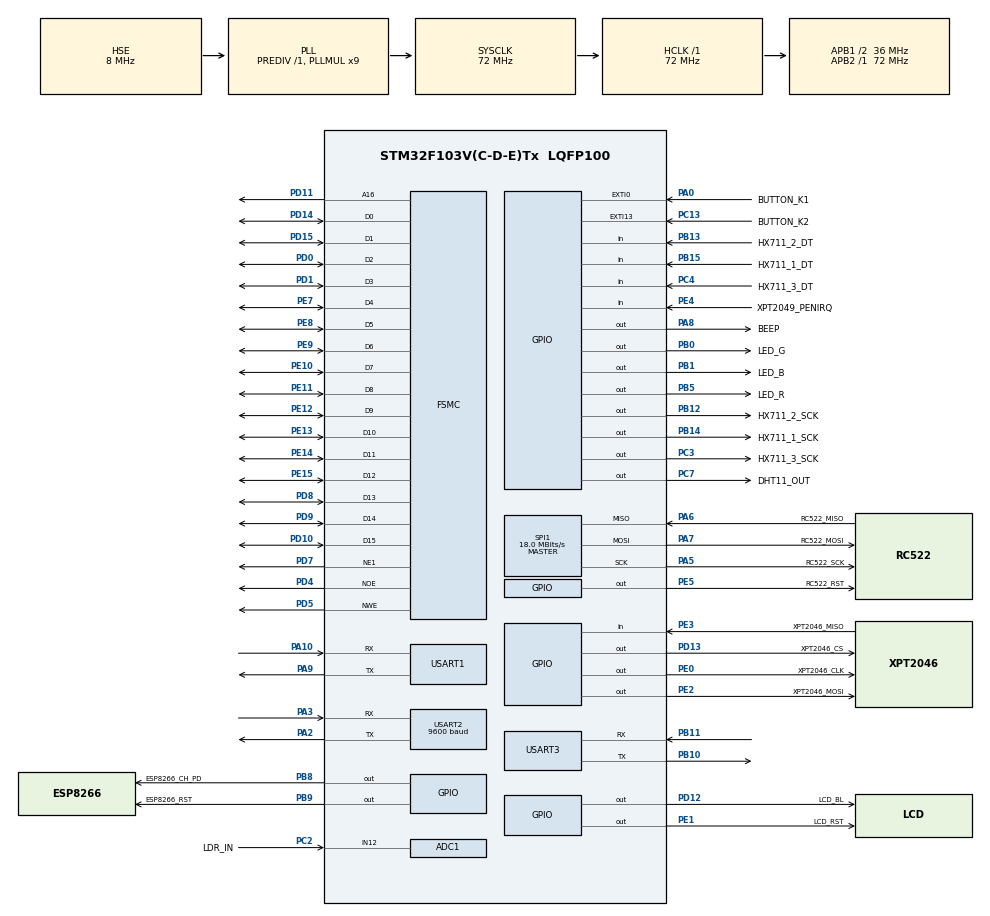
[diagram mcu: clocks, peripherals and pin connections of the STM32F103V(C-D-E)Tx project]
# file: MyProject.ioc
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ADC1.Channel-0\#ChannelRegularConversion=ADC_CHANNEL_12
ADC1.ContinuousConvMode=ENABLE
ADC1.NbrOfConversionFlag=1
ADC1.Rank-0\#ChannelRegularConversion=1
ADC1.SamplingTime-0\#ChannelRegularConversion=ADC_SAMPLETIME_1CYCLE_5
ADC1.master=1
Dma.Request0=USART2_RX
Dma.USART2_RX.0.Direction=DMA_PERIPH_TO_MEMORY
Dma.USART2_RX.0.Instance=DMA1_Channel6
Dma.USART2_RX.0.MemDataAlignment=DMA_MDATAALIGN_BYTE
Dma.USART2_RX.0.MemInc=DMA_MINC_ENABLE
Dma.USART2_RX.0.Mode=DMA_CIRCULAR
Dma.USART2_RX.0.PeriphDataAlignment=DMA_PDATAALIGN_BYTE
Dma.USART2_RX.0.PeriphInc=DMA_PINC_DISABLE
Dma.USART2_RX.0.Priority=DMA_PRIORITY_MEDIUM
FREERTOS.HEAP_NUMBER=4
FREERTOS.INCLUDE_uxTaskGetStackHighWaterMark=1
FREERTOS.Mutexes01=myMutex01,Dynamic,NULL
FREERTOS.Tasks01=defaultTask,0,150,MainThread,Default,NULL,Dynamic,NULL,NULL;myTask02,-1,150,Thread2,Default,NULL,Dynamic,NULL,NULL;myTask03,-2,150,Thread3,Default,NULL,Dynamic,NULL,NULL;myTask04,-2,250,Thread4,Default,NULL,Dynamic,NULL,NULL;myTask05,-2,1000,Thread5,Default,NULL,Dynamic,NULL,NULL
FREERTOS.configMINIMAL_STACK_SIZE=128
FREERTOS.configTOTAL_HEAP_SIZE=51200
Mcu.Family=STM32F1
Mcu.Name=STM32F103V(C-D-E)Tx
Mcu.Package=LQFP100
NVIC.DMA1_Channel6_IRQn=true\:5\:0\:false\:false\:true\:true\:false\:true
NVIC.EXTI0_IRQn=true\:0\:0\:false\:false\:true\:false\:true\:true
NVIC.EXTI15_10_IRQn=true\:0\:0\:false\:false\:true\:false\:true\:true
NVIC.PriorityGroup=NVIC_PRIORITYGROUP_4
NVIC.TIM3_IRQn=true\:0\:0\:false\:false\:true\:false\:false\:true
NVIC.TimeBase=TIM3_IRQn
NVIC.TimeBaseIP=TIM3
NVIC.USART2_IRQn=true\:5\:0\:false\:false\:true\:true\:true\:true
NVIC.USART3_IRQn=true\:5\:0\:false\:false\:true\:true\:true\:true
OSC_IN.Mode=HSE-External-Oscillator
OSC_IN.Signal=RCC_OSC_IN
OSC_OUT.Mode=HSE-External-Oscillator
OSC_OUT.Signal=RCC_OSC_OUT
PA0-WKUP.GPIO_Label=BUTTON_K1
PA0-WKUP.Signal=GPXTI0
PA10.Mode=Asynchronous
PA10.Signal=USART1_RX
PA13.Mode=Serial_Wire
PA13.Signal=SYS_JTMS-SWDIO
PA14.Mode=Serial_Wire
PA14.Signal=SYS_JTCK-SWCLK
PA2.Mode=Asynchronous
PA2.Signal=USART2_TX
PA3.Mode=Asynchronous
PA3.Signal=USART2_RX
PA4.GPIO_Label=RC522_SDA
PA4.Signal=SPI1_NSS
PA5.GPIO_Label=RC522_SCK
PA5.Mode=Full_Duplex_Master
PA5.Signal=SPI1_SCK
PA6.GPIO_Label=RC522_MISO
PA6.Mode=Full_Duplex_Master
PA6.Signal=SPI1_MISO
PA7.GPIO_Label=RC522_MOSI
PA7.Mode=Full_Duplex_Master
PA7.Signal=SPI1_MOSI
PA8.GPIO_Label=BEEP
PA8.PinState=GPIO_PIN_RESET
PA8.Signal=GPIO_Output
PA9.Mode=Asynchronous
PA9.Signal=USART1_TX
PB0.GPIO_Label=LED_G
PB0.PinState=GPIO_PIN_SET
PB0.Signal=GPIO_Output
PB1.GPIO_Label=LED_B
PB1.PinState=GPIO_PIN_SET
PB1.Signal=GPIO_Output
PB10.Mode=Asynchronous
PB10.Signal=USART3_TX
PB11.Mode=Asynchronous
PB11.Signal=USART3_RX
PB12.GPIO_Label=HX711_2_SCK
PB12.Signal=GPIO_Output
PB13.GPIO_Label=HX711_2_DT
PB13.GPIO_PuPd=GPIO_PULLUP
PB13.Signal=GPIO_Input
PB14.GPIO_Label=HX711_1_SCK
PB14.Signal=GPIO_Output
PB15.GPIO_Label=HX711_1_DT
PB15.GPIO_PuPd=GPIO_PULLUP
PB15.Signal=GPIO_Input
PB5.GPIO_Label=LED_R
PB5.PinState=GPIO_PIN_SET
PB5.Signal=GPIO_Output
PB8.GPIO_Label=ESP8266_CH_PD
PB8.GPIO_Speed=GPIO_SPEED_FREQ_HIGH
PB8.Signal=GPIO_Output
PB9.GPIO_Label=ESP8266_RST
PB9.GPIO_Speed=GPIO_SPEED_FREQ_HIGH
PB9.Signal=GPIO_Output
PC13-TAMPER-RTC.GPIO_Label=BUTTON_K2
PC13-TAMPER-RTC.Signal=GPXTI13
PC14-OSC32_IN.Mode=LSE-External-Oscillator
PC14-OSC32_IN.Signal=RCC_OSC32_IN
PC15-OSC32_OUT.Mode=LSE-External-Oscillator
PC15-OSC32_OUT.Signal=RCC_OSC32_OUT
PC2.GPIO_Label=LDR_IN
PC2.Signal=ADCx_IN12
PC3.GPIO_Label=HX711_3_SCK
PC3.Signal=GPIO_Output
PC4.GPIO_Label=HX711_3_DT
PC4.GPIO_PuPd=GPIO_PULLUP
PC4.Signal=GPIO_Input
PC7.GPIO_Label=DHT11_OUT
PC7.Signal=GPIO_Output
PD0.Mode=16b-d1
PD0.Signal=FSMC_D2
PD1.Mode=16b-d1
PD1.Signal=FSMC_D3
PD10.Mode=16b-d1
PD10.Signal=FSMC_D15
PD11.Mode=A16_1
PD11.Signal=FSMC_A16
PD12.GPIO_Label=LCD_BL
PD12.Signal=GPIO_Output
PD13.GPIO_Label=XPT2046_CS
PD13.Signal=GPIO_Output
PD14.Mode=16b-d1
PD14.Signal=FSMC_D0
PD15.Mode=16b-d1
PD15.Signal=FSMC_D1
PD4.Mode=Lcd1
PD4.Signal=FSMC_NOE
PD5.Mode=Lcd1
PD5.Signal=FSMC_NWE
PD7.Mode=NorPsramChipSelect1_1
PD7.Signal=FSMC_NE1
PD8.Mode=16b-d1
PD8.Signal=FSMC_D13
PD9.Mode=16b-d1
PD9.Signal=FSMC_D14
PE0.GPIO_Label=XPT2046_CLK
PE0.Signal=GPIO_Output
PE1.GPIO_Label=LCD_RST
PE1.Signal=GPIO_Output
PE10.Mode=16b-d1
PE10.Signal=FSMC_D7
PE11.Mode=16b-d1
PE11.Signal=FSMC_D8
PE12.Mode=16b-d1
PE12.Signal=FSMC_D9
PE13.Mode=16b-d1
PE13.Signal=FSMC_D10
PE14.Mode=16b-d1
PE14.Signal=FSMC_D11
PE15.Mode=16b-d1
PE15.Signal=FSMC_D12
PE2.GPIO_Label=XPT2046_MOSI
PE2.Signal=GPIO_Output
PE3.GPIO_Label=XPT2046_MISO
PE3.GPIO_PuPd=GPIO_PULLUP
PE3.Signal=GPIO_Input
PE4.GPIO_Label=XPT2049_PENIRQ
PE4.GPIO_PuPd=GPIO_PULLUP
PE4.Signal=GPIO_Input
PE5.GPIO_Label=RC522_RST
PE5.Signal=GPIO_Output
PE7.Mode=16b-d1
PE7.Signal=FSMC_D4
PE8.Mode=16b-d1
PE8.Signal=FSMC_D5
PE9.Mode=16b-d1
PE9.Signal=FSMC_D6
ProjectManager.HeapSize=0x200
ProjectManager.StackSize=0x400
ProjectManager.TargetToolchain=MDK-ARM V5
RCC.ADCPresc=RCC_ADCPCLK2_DIV6
RCC.AHBFreq_Value=72000000
RCC.APB1CLKDivider=RCC_HCLK_DIV2
RCC.APB1Freq_Value=36000000
RCC.APB1TimFreq_Value=72000000
RCC.APB2Freq_Value=72000000
RCC.APB2TimFreq_Value=72000000
RCC.HCLKFreq_Value=72000000
RCC.PLLMUL=RCC_PLL_MUL9
RCC.PLLSourceVirtual=RCC_PLLSOURCE_HSE
RCC.SYSCLKFreq_VALUE=72000000
RCC.SYSCLKSource=RCC_SYSCLKSOURCE_PLLCLK
RCC.USBFreq_Value=72000000
SH.ADCx_IN12.0=ADC1_IN12,IN12
SPI1.BaudRatePrescaler=SPI_BAUDRATEPRESCALER_4
SPI1.CalculateBaudRate=18.0 MBits/s
SPI1.Direction=SPI_DIRECTION_2LINES
SPI1.Mode=SPI_MODE_MASTER
SPI1.VirtualType=VM_MASTER
USART1.VirtualMode=VM_ASYNC
USART2.BaudRate=9600
USART2.VirtualMode=VM_ASYNC
USART3.VirtualMode=VM_ASYNC
VP_FREERTOS_VS_CMSIS_V1.Mode=CMSIS_V1
VP_SYS_VS_tim3.Mode=TIM3
board=custom

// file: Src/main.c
/* USER CODE BEGIN Header */
/**
  ******************************************************************************
  * @file           : main.c
  * @brief          : Main program body
  ******************************************************************************
  * @attention
  *
  * <h2><center>&copy; Copyright (c) 2019 STMicroelectronics.
  * All rights reserved.</center></h2>
  *
  * This software component is licensed by ST under BSD 3-Clause license,
  * the "License"; You may not use this file except in compliance with the
  * License. You may obtain a copy of the License at:
  *                        opensource.org/licenses/BSD-3-Clause
  *
  ******************************************************************************
  */
/* USER CODE END Header */

#include "main.h"
#include "cmsis_os.h"
#include "adc.h"
#include "dma.h"
#include "spi.h"
#include "usart.h"
#include "gpio.h"
#include "fsmc.h"

/* USER CODE BEGIN Includes */
#include "led.h"
#include "beep.h"
#include "lcd.h"
#include "ui.h"
#include "xpt2046.h"
#include "hx711.h"
#include "rc522.h"
/* USER CODE END Includes */

void SystemClock_Config(void);
void MX_FREERTOS_Init(void);

int main(void)
{

  /* MCU Configuration--------------------------------------------------------*/

  /* Reset of all peripherals, Initializes the Flash interface and the Systick. */
  HAL_Init();

  /* Configure the system clock */
  SystemClock_Config();

  /* Initialize all configured peripherals */
  MX_GPIO_Init();
  MX_DMA_Init();
  MX_FSMC_Init();
  MX_USART1_UART_Init();
  MX_ADC1_Init();
  MX_SPI1_Init();
  MX_USART3_UART_Init();
  MX_USART2_UART_Init();
  /* USER CODE BEGIN 2 */
	LCD_Init();

  /* USER CODE END 2 */

  /* Call init function for freertos objects (in freertos.c) */
  MX_FREERTOS_Init();

  /* Start scheduler */
  osKernelStart();

  /* We should never get here as control is now taken by the scheduler */

  /* Infinite loop */
  while (1)
  {

  }
}

void SystemClock_Config(void)
{
  RCC_OscInitTypeDef RCC_OscInitStruct = {0};
  RCC_ClkInitTypeDef RCC_ClkInitStruct = {0};
  RCC_PeriphCLKInitTypeDef PeriphClkInit = {0};

  /** Initializes the CPU, AHB and APB busses clocks
  */
  RCC_OscInitStruct.OscillatorType = RCC_OSCILLATORTYPE_HSE;
  RCC_OscInitStruct.HSEState = RCC_HSE_ON;
  RCC_OscInitStruct.HSEPredivValue = RCC_HSE_PREDIV_DIV1;
  RCC_OscInitStruct.HSIState = RCC_HSI_ON;
  RCC_OscInitStruct.PLL.PLLState = RCC_PLL_ON;
  RCC_OscInitStruct.PLL.PLLSource = RCC_PLLSOURCE_HSE;
  RCC_OscInitStruct.PLL.PLLMUL = RCC_PLL_MUL9;
  if (HAL_RCC_OscConfig(&RCC_OscInitStruct) != HAL_OK)
  {
    Error_Handler();
  }
  /** Initializes the CPU, AHB and APB busses clocks
  */
  RCC_ClkInitStruct.ClockType = RCC_CLOCKTYPE_HCLK|RCC_CLOCKTYPE_SYSCLK
                              |RCC_CLOCKTYPE_PCLK1|RCC_CLOCKTYPE_PCLK2;
  RCC_ClkInitStruct.SYSCLKSource = RCC_SYSCLKSOURCE_PLLCLK;
  RCC_ClkInitStruct.AHBCLKDivider = RCC_SYSCLK_DIV1;
  RCC_ClkInitStruct.APB1CLKDivider = RCC_HCLK_DIV2;
  RCC_ClkInitStruct.APB2CLKDivider = RCC_HCLK_DIV1;

  if (HAL_RCC_ClockConfig(&RCC_ClkInitStruct, FLASH_LATENCY_2) != HAL_OK)
  {
    Error_Handler();
  }
  PeriphClkInit.PeriphClockSelection = RCC_PERIPHCLK_ADC;
  PeriphClkInit.AdcClockSelection = RCC_ADCPCLK2_DIV6;
  if (HAL_RCCEx_PeriphCLKConfig(&PeriphClkInit) != HAL_OK)
  {
    Error_Handler();
  }
}

void HAL_TIM_PeriodElapsedCallback(TIM_HandleTypeDef *htim)
{
  if (htim->Instance == TIM3) {
    HAL_IncTick();
  }
}

void Error_Handler(void)
{
}

/************************ (C) COPYRIGHT STMicroelectronics *****END OF FILE****/

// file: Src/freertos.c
/* USER CODE BEGIN Header */
/**
  ******************************************************************************
  * File Name          : freertos.c
  * Description        : Code for freertos applications
  ******************************************************************************
  * @attention
  *
  * <h2><center>&copy; Copyright (c) 2019 STMicroelectronics.
  * All rights reserved.</center></h2>
  *
  * This software component is licensed by ST under Ultimate Liberty license
  * SLA0044, the "License"; You may not use this file except in compliance with
  * the License. You may obtain a copy of the License at:
  *                             www.st.com/SLA0044
  *
  ******************************************************************************
  */
/* USER CODE END Header */

#include "FreeRTOS.h"
#include "task.h"
#include "main.h"
#include "cmsis_os.h"

/* USER CODE BEGIN Includes */
#include "adc.h"
#include <string.h>
#include <stdlib.h>

#include "led.h"
#include "beep.h"
#include "lcd.h"
#include "ui.h"
#include "xpt2046.h"
#include "hx711.h"
#include "dht11.h"
#include "rc522.h"
#include "esp8266.h"
#include "neo6m.h"

/* USER CODE END Includes */

/* USER CODE BEGIN PD */
#define WEIGHT_MAX 				8700000
#define	LIGHT_THRES				60
#define RFID_CARD_ID 				"4A789303"

#define LOCALAP_SSID				""
#define LOCALAP_PW				""
#define LOCALHOST_IP				""
#define LOCALHOST_PORT				"3000"

#define HTTP_MAX_LEN				250																				// 104
#define HTTP_DATA_LEN				140																				// 133
#define HTTP_GET				"GET /data HTTP/1.1\n"
#define HTTP_POST				"POST /data HTTP/1.1\r\n" \
						"Host: %s:%s\r\n" \
						"Content-Type: application/json\r\n" \
						"Content-Length: %d\r\n\r\n" \
						"%s\n"

#define HTTP_DATA 				"{\"temp\":\"%d.%d\",\"humidity\":\"%d.%d\"," \
						"\"light\":\"%u\",\"seats\":\"%d\",\"seat1\":\"%d\"," \
						"\"seat2\":\"%d\",\"seat3\":\"%d\",\"lat\":\"%f\",\"lon\":\"%f\"}"

//#define	TASK1_DEBUG					1
//#define	TASK2_DEBUG					1
//#define	TASK3_DEBUG					1
//#define	TASK4_DEBUG					1
//#define	TASK5_DEBUG					1

/* USER CODE END PD */

/* USER CODE BEGIN Variables */
DHT11_Data dht11_data;
uint32_t ldr_data;
double deg_lat;
double deg_lon;

/* USER CODE END Variables */
osThreadId defaultTaskHandle;
osThreadId myTask02Handle;
osThreadId myTask03Handle;
osThreadId myTask04Handle;
osThreadId myTask05Handle;
osMutexId myMutex01Handle;

void MainThread(void const * argument);
void Thread2(void const * argument);
void Thread3(void const * argument);
void Thread4(void const * argument);
void Thread5(void const * argument);

void MX_FREERTOS_Init(void); /* (MISRA C 2004 rule 8.1) */

void MX_FREERTOS_Init(void) {

  /* Create the mutex(es) */
  /* definition and creation of myMutex01 */
  osMutexDef(myMutex01);
  myMutex01Handle = osMutexCreate(osMutex(myMutex01));

  /* Create the thread(s) */
  /* definition and creation of defaultTask */
  osThreadDef(defaultTask, MainThread, osPriorityNormal, 0, 150);
  defaultTaskHandle = osThreadCreate(osThread(defaultTask), NULL);

  /* definition and creation of myTask02 */
  osThreadDef(myTask02, Thread2, osPriorityBelowNormal, 0, 150);
  myTask02Handle = osThreadCreate(osThread(myTask02), NULL);

  /* definition and creation of myTask03 */
  osThreadDef(myTask03, Thread3, osPriorityLow, 0, 150);
  myTask03Handle = osThreadCreate(osThread(myTask03), NULL);

  /* definition and creation of myTask04 */
  osThreadDef(myTask04, Thread4, osPriorityLow, 0, 250);
  myTask04Handle = osThreadCreate(osThread(myTask04), NULL);

  /* definition and creation of myTask05 */
  osThreadDef(myTask05, Thread5, osPriorityLow, 0, 1000);
  myTask05Handle = osThreadCreate(osThread(myTask05), NULL);

}

void MainThread(void const * argument)
{

  /* USER CODE BEGIN MainThread */
	UI_Init();

	// RC522
	RC522_Init();
	RC522_PcdReset();
	RC522_M500PcdConfigISOType('A');

	// Waiting for login
	while (UI_LogState_Get() == LOGOUT)
	{
		// RC522
		uint8_t arrayID[4];
		uint8_t statusReturn = RC522_PcdRequest(PICC_REQALL, arrayID);

		if (statusReturn == MI_OK)
		{
			// Prevent Card Collusion
			if (RC522_PcdAnticoll(arrayID) == MI_OK)
			{
				char str[8] = "";
				sprintf(str, "%02X%02X%02X%02X", arrayID[0], arrayID[1], arrayID[2], arrayID[3]);

				UI_Login(strcmp(str, RFID_CARD_ID) == 0);
			}
		}
	}

  /* Infinite loop */
  for(;;)
  {
		// Touch Event
		strType_XPT2046_Coordinate coordinate;
		XPT2046_TouchEvenHandler(&coordinate);

		if (LCD_Coordinate_Valid(coordinate.x, coordinate.y))
		{
			xSemaphoreTake(myMutex01Handle, portMAX_DELAY);
			UI_Touch(coordinate.x, coordinate.y);
			xSemaphoreGive(myMutex01Handle);
		}

		#ifdef TASK1_DEBUG
			UBaseType_t uxHighWaterMark = uxTaskGetStackHighWaterMark( NULL );
			printf("MainThread: %lu\n", uxHighWaterMark);
		#endif

		osDelay(1);
  }

  /* USER CODE END MainThread */
}

void Thread2(void const * argument)
{
  /* USER CODE BEGIN Thread2 */
	while (UI_LogState_Get() == LOGOUT);

	// DHT11
	DHT11_Init();

  /* Infinite loop */
  for(;;)
  {
		if (DHT11_ReadData(&dht11_data))
		{
			xSemaphoreTake(myMutex01Handle, portMAX_DELAY);
			UI_Room_TempHumi_Set(&dht11_data);
			xSemaphoreGive(myMutex01Handle);
		}

		#ifdef TASK2_DEBUG
			UBaseType_t uxHighWaterMark = uxTaskGetStackHighWaterMark( NULL );
			printf("Thread2: %lu\n", uxHighWaterMark);
		#endif

		osDelay(1);
  }
  /* USER CODE END Thread2 */
}

void Thread3(void const * argument)
{
  /* USER CODE BEGIN Thread3 */
	while (UI_LogState_Get() == LOGOUT);

	// HX711 Seats
	HX711_Data hx711_data[3] = { {0, 16, GPIOB, GPIO_PIN_14, GPIOB, GPIO_PIN_15},
															 {0, 16, GPIOB, GPIO_PIN_12, GPIOB, GPIO_PIN_13},
	                             {0, 16, GPIOC, GPIO_PIN_3, GPIOC, GPIO_PIN_4} };

	// LDR ADC
	HAL_ADCEx_Calibration_Start(&hadc1);
	HAL_ADC_Start(&hadc1);

  /* Infinite loop */
  for(;;)
  {
		// HX711
		uint8_t i;

		for (i = 0; i < SEATS_MAX; ++i)
		{
			HX711_Tare(&hx711_data[i], 1);

			xSemaphoreTake(myMutex01Handle, portMAX_DELAY);
			UI_Seat_Set(i + 1, !(hx711_data[i].offset > WEIGHT_MAX));
			xSemaphoreGive(myMutex01Handle);
		}

		if (hx711_data[0].offset > WEIGHT_MAX &&
			  hx711_data[1].offset > WEIGHT_MAX &&
		    hx711_data[2].offset > WEIGHT_MAX)
		{
			BEEP_On();
		}
		else
		{
			BEEP_Off();
		}

		// LDR ADC
		if (HAL_ADC_PollForConversion(&hadc1, 1000) == HAL_OK)
		{
			ldr_data = HAL_ADC_GetValue(&hadc1);

			xSemaphoreTake(myMutex01Handle, portMAX_DELAY);
			UI_Room_Light_Set(&ldr_data);
			xSemaphoreGive(myMutex01Handle);

			if (ldr_data > LIGHT_THRES)
			{
				LED_Green_On();
			}
			else
			{
				LED_Reset();
			}
		}

		#ifdef TASK3_DEBUG
			UBaseType_t uxHighWaterMark = uxTaskGetStackHighWaterMark( NULL );
			printf("Thread3: %lu\n", uxHighWaterMark);
		#endif

    osDelay(1);
  }
  /* USER CODE END Thread3 */
}

void Thread4(void const * argument)
{
  /* USER CODE BEGIN Thread4 */
	while (UI_LogState_Get() == LOGOUT);

	// ESP8266
	ESP8266_Init();
	ESP8266_Enable();
	ESP8266_Net_Mode_Choose(STA);
	ESP8266_JoinAP(LOCALAP_SSID, LOCALAP_PW);
	ESP8266_Link_Server(enumTCP, LOCALHOST_IP, LOCALHOST_PORT, Single_ID_0);

  /* Infinite loop */
  for(;;)
  {
		// ESP8266 Upload Data
		char* sensor_data = (char*) pvPortMalloc(HTTP_DATA_LEN * sizeof(char));
		char* up_data = (char*) pvPortMalloc(HTTP_MAX_LEN * sizeof(char));

		snprintf(sensor_data,
			HTTP_DATA_LEN, HTTP_DATA,
			dht11_data.temp_int, dht11_data.temp_deci, dht11_data.humi_int, dht11_data.humi_deci,
			ldr_data,
			UI_Seat_Remains(), UI_Seat_Get(1)->avail, UI_Seat_Get(2)->avail, UI_Seat_Get(3)->avail,
			deg_lat, deg_lon);

		snprintf(up_data, HTTP_MAX_LEN, HTTP_POST, LOCALHOST_IP, LOCALHOST_PORT, strlen(sensor_data), sensor_data);

		//ESP8266_SendString(DISABLE, HTTP_GET, strlen(HTTP_GET), Single_ID_0);
		ESP8266_SendString(DISABLE, up_data, strlen(up_data), Single_ID_0);

		vPortFree(sensor_data);
		vPortFree(up_data);

		ESP8266_ExitUnvarnishSend();

		#ifdef TASK4_DEBUG
			UBaseType_t uxHighWaterMark = uxTaskGetStackHighWaterMark( NULL );
			printf("Thread4: %lu\n", uxHighWaterMark);
		#endif

    osDelay(1);
  }
  /* USER CODE END Thread4 */
}

void Thread5(void const * argument)
{
  /* USER CODE BEGIN Thread5 */
	while (UI_LogState_Get() == LOGOUT);

	// GPS
	GPS_Init();

  nmeaINFO info;
  nmeaPARSER parser;
	nmeaTIME time;

  uint8_t new_parse = 0;

	nmea_property()->trace_func = &GPS_Trace;
	nmea_property()->error_func = &GPS_Error;
	nmea_property()->info_func = &GPS_Info;

	nmea_zero_INFO(&info);
	nmea_parser_init(&parser);

  /* Infinite loop */
  for(;;)
  {
		GPS_Decode(&deg_lat, &deg_lon, &info, &parser, &time, &new_parse);

		xSemaphoreTake(myMutex01Handle, portMAX_DELAY);
		UI_GPS_Set(&deg_lat, &deg_lon, &info);
		xSemaphoreGive(myMutex01Handle);

		#ifdef TASK5_DEBUG
			UBaseType_t uxHighWaterMark = uxTaskGetStackHighWaterMark( NULL );
			printf("Thread5: %lu\n", uxHighWaterMark);
		#endif

    osDelay(1);
  }
  /* USER CODE END Thread5 */
}

/************************ (C) COPYRIGHT STMicroelectronics *****END OF FILE****/
